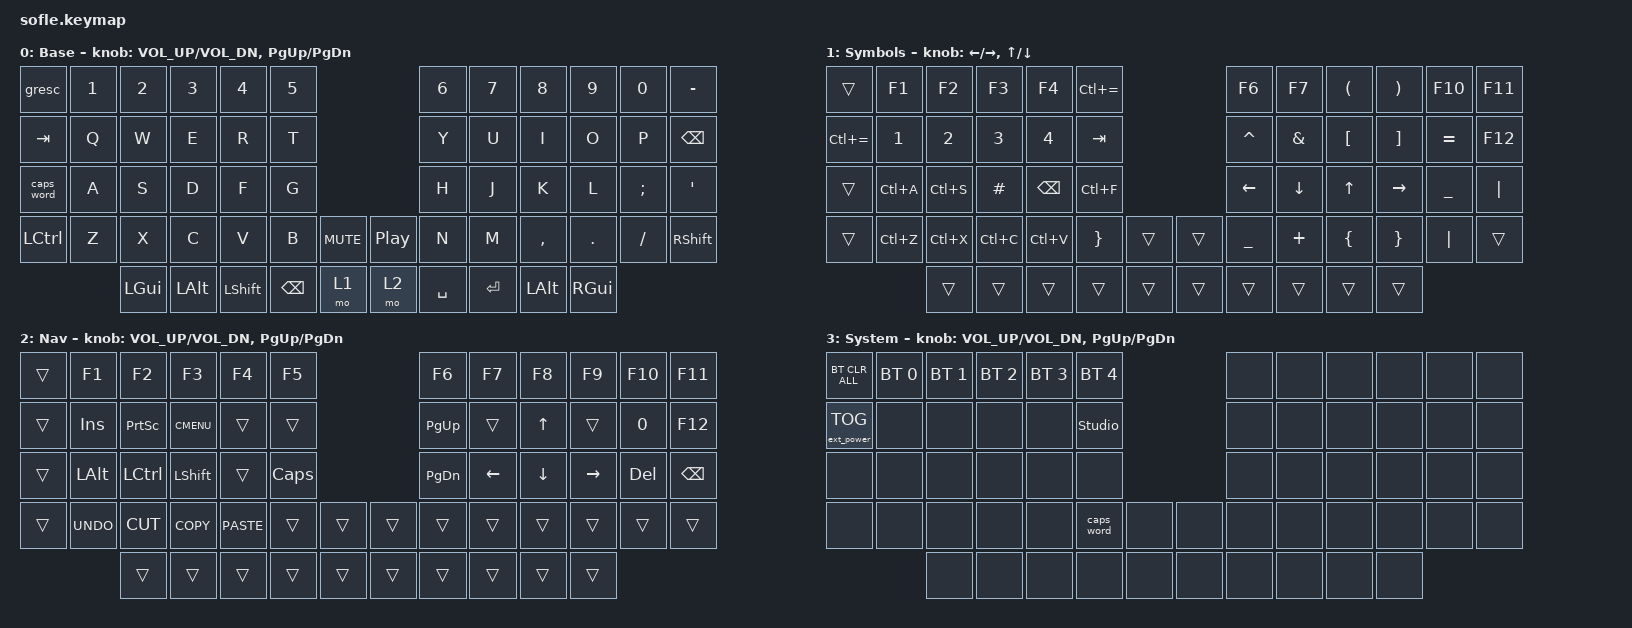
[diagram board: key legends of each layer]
/*
 * Copyright (c) 2020 The ZMK Contributors
 *
 * SPDX-License-Identifier: MIT
 */

#include <behaviors.dtsi>
#include <dt-bindings/zmk/bt.h>
#include <dt-bindings/zmk/ext_power.h>
#include <dt-bindings/zmk/keys.h>

#define BASE 0
#define LOWER 1
#define RAISE 2
#define ADJUST 3

&mt {
    flavor = "balanced";
    tapping-term-ms = <280>;
    quick-tap-ms = <175>;
    require-prior-idle-ms = <125>;
};

/ {
    // Activate ADJUST layer by pressing raise and lower

    conditional_layers {
        compatible = "zmk,conditional-layers";

        adjust_layer {
            if-layers = <LOWER RAISE>;
            then-layer = <ADJUST>;
        };
    };

    combos {
        compatible = "zmk,combos";

        backspace {
            bindings = <&kp BACKSPACE>;
            key-positions = <32 31>;
        };

        delete {
            bindings = <&kp DELETE>;
            key-positions = <27 33>;
        };

        esc {
            bindings = <&kp ESCAPE>;
            key-positions = <25 41>;
        };
    };

    behaviors {
        caps: caps {
            compatible = "zmk,behavior-caps-word";
            label = "CAPS";
            #binding-cells = <0>;
            continue-list = <POUND MINUS BACKSPACE UNDERSCORE>;
        };
    };

    keymap {
        compatible = "zmk,keymap";

        default_layer {
            display-name = "Base";

            // ------------------------------------------------------------------------------------------------------------
            // |   `   |  1  |  2  |  3   |  4   |  5   |                   |  6   |  7    |  8    |  9   |   0   |       |
            // |  ESC  |  Q  |  W  |  E   |  R   |  T   |                   |  Y   |  U    |  I    |  O   |   P   | BKSPC |
            // |  TAB  |  A  |  S  |  D   |  F   |  G   |                   |  H   |  J    |  K    |  L   |   ;   |   '   |
            // | SHIFT |  Z  |  X  |  C   |  V   |  B   |  MUTE  |  |       |  N   |  M    |  ,    |  .   |   /   | SHIFT |
            //               | GUI | ALT  | CTRL | LOWER|  ENTER |  | SPACE | RAISE| CTRL  | ALT   | GUI  |

            bindings = <
&gresc            &kp N1  &kp N2    &kp N3    &kp N4          &kp N5                                         &kp N6     &kp N7     &kp N8     &kp N9    &kp N0    &kp MINUS
&kp TAB           &kp Q   &kp W     &kp E     &kp R           &kp T                                          &kp Y      &kp U      &kp I      &kp O     &kp P     &kp BSPC
&caps_word        &kp A   &kp S     &kp D     &kp F           &kp G                                          &kp H      &kp J      &kp K      &kp L     &kp SEMI  &kp SQT
&kp LEFT_CONTROL  &kp Z   &kp X     &kp C     &kp V           &kp B          &kp C_MUTE    &kp C_PLAY_PAUSE  &kp N      &kp M      &kp COMMA  &kp DOT   &kp FSLH  &kp RSHFT
                          &kp LGUI  &kp LALT  &kp LEFT_SHIFT  &kp BACKSPACE  &mo 1         &mo 2             &kp SPACE  &kp ENTER  &kp LALT   &kp RGUI
            >;

            sensor-bindings = <&inc_dec_kp C_VOL_UP C_VOL_DN &inc_dec_kp PG_UP PG_DN>;
        };

        lower_layer {
            display-name = "Symbols";

            // TODO: Some binds are waiting for shifted keycode support.
            // ------------------------------------------------------------------------------------------------------------
            // |       |  F1 |  F2 |  F3  |  F4  |  F5  |                   |  F6  |  F7   |  F8   |  F9  |  F10  |  F11  |
            // |   `   |  1  |  2  |  3   |  4   |  5   |                   |  6   |  7    |  8    |  9   |   0   |  F12  |
            // |       |  !  |  @  |  #   |  $   |  %   |                   |  ^   |  &    |  *    |  (   |   )   |   |   |
            // |       |  =  |  -  |  +   |  {   |  }   |        |  |       |  [   |  ]    |  ;    |  :   |   \   |       |
            //               |     |      |      |      |        |  |       |      |       |       |      |

            bindings = <
&trans         &kp F1     &kp F2     &kp F3     &kp F4         &kp LC(EQUAL)                    &kp F6          &kp F7          &kp LEFT_PARENTHESIS  &kp RIGHT_PARENTHESIS  &kp F10         &kp F11
&kp LC(EQUAL)  &kp N1     &kp N2     &kp N3     &kp N4         &kp TAB                          &kp CARET       &kp AMPERSAND   &kp LEFT_BRACKET      &kp RIGHT_BRACKET      &kp EQUAL       &kp F12
&trans         &kp LC(A)  &kp LC(S)  &kp HASH   &kp BACKSPACE  &kp LC(F)                        &kp LEFT_ARROW  &kp DOWN_ARROW  &kp UP_ARROW          &kp RIGHT_ARROW        &kp UNDERSCORE  &kp PIPE
&trans         &kp LC(Z)  &kp LC(X)  &kp LC(C)  &kp LC(V)      &kp RBRC       &trans    &trans  &kp UNDERSCORE  &kp PLUS        &kp LEFT_BRACE        &kp RIGHT_BRACE        &kp PIPE        &trans
                          &trans     &trans     &trans         &trans         &trans    &trans  &trans          &trans          &trans                &trans
            >;

            sensor-bindings =
                <&inc_dec_kp LEFT_ARROW RIGHT_ARROW>,
                <&inc_dec_kp UP_ARROW DOWN_ARROW>;
        };

        raise_layer {
            display-name = "Nav";

            // ------------------------------------------------------------------------------------------------------------
            // | BTCLR | BT1  | BT2  |  BT3  |  BT4  |  BT5 |                |      |      |       |      |       |       |
            // |       | INS  | PSCR | GUI   |       |      |                | PGUP |      |   ^   |      |       |       |
            // |       | ALT  | CTRL | SHIFT |       | CAPS |                | PGDN |   <- |   v   |  ->  |  DEL  | BKSPC |
            // |       | UNDO | CUT  | COPY  | PASTE |      |      |  |      |      |      |       |      |       |       |
            //                |      |       |       |      |      |  |      |      |      |       |      |

            bindings = <
&trans  &kp F1      &kp F2     &kp F3       &kp F4       &kp F5                      &kp F6     &kp F7    &kp F8    &kp F9     &kp F10  &kp F11
&trans  &kp INS     &kp PSCRN  &kp K_CMENU  &trans       &trans                      &kp PG_UP  &trans    &kp UP    &trans     &kp N0   &kp F12
&trans  &kp LALT    &kp LCTRL  &kp LSHFT    &trans       &kp CLCK                    &kp PG_DN  &kp LEFT  &kp DOWN  &kp RIGHT  &kp DEL  &kp BSPC
&trans  &kp K_UNDO  &kp K_CUT  &kp K_COPY   &kp K_PASTE  &trans    &trans    &trans  &trans     &trans    &trans    &trans     &trans   &trans
                    &trans     &trans       &trans       &trans    &trans    &trans  &trans     &trans    &trans    &trans
            >;

            sensor-bindings = <&inc_dec_kp C_VOL_UP C_VOL_DN &inc_dec_kp PG_UP PG_DN>;
        };

        adjust_layer {
            // ----------------------------------------------------------------------------------------------------------------------------
            // | BTCLR  |  BT1    |  BT2    |   BT3   |   BT4   |   BT5   |                  |      |      |       |      |       |       |
            // | EXTPWR | RGB_HUD | RGB_HUI | RGB_SAD | RGB_SAI | RGB_EFF |                  |      |      |       |      |       |       |
            // |        | RGB_BRD | RGB_BRI |         |         |         |                  |      |      |       |      |       |       |
            // |        |         |         |         |         |         | RGB_TOG | |      |      |      |       |      |       |       |
            //                    |         |         |         |         |         | |      |      |      |       |      |

            display-name = "System";
            bindings = <
&bt BT_CLR_ALL     &bt BT_SEL 0  &bt BT_SEL 1  &bt BT_SEL 2  &bt BT_SEL 3  &bt BT_SEL 4                    &none  &none  &none  &none  &none  &none
&ext_power EP_TOG  &none         &none         &none         &none         &studio_unlock                  &none  &none  &none  &none  &none  &none
&none              &none         &none         &none         &none         &none                           &none  &none  &none  &none  &none  &none
&none              &none         &none         &none         &none         &caps_word      &none    &none  &none  &none  &none  &none  &none  &none
                                 &none         &none         &none         &none           &none    &none  &none  &none  &none  &none
            >;

            sensor-bindings = <&inc_dec_kp C_VOL_UP C_VOL_DN &inc_dec_kp PG_UP PG_DN>;
        };
    };
};
